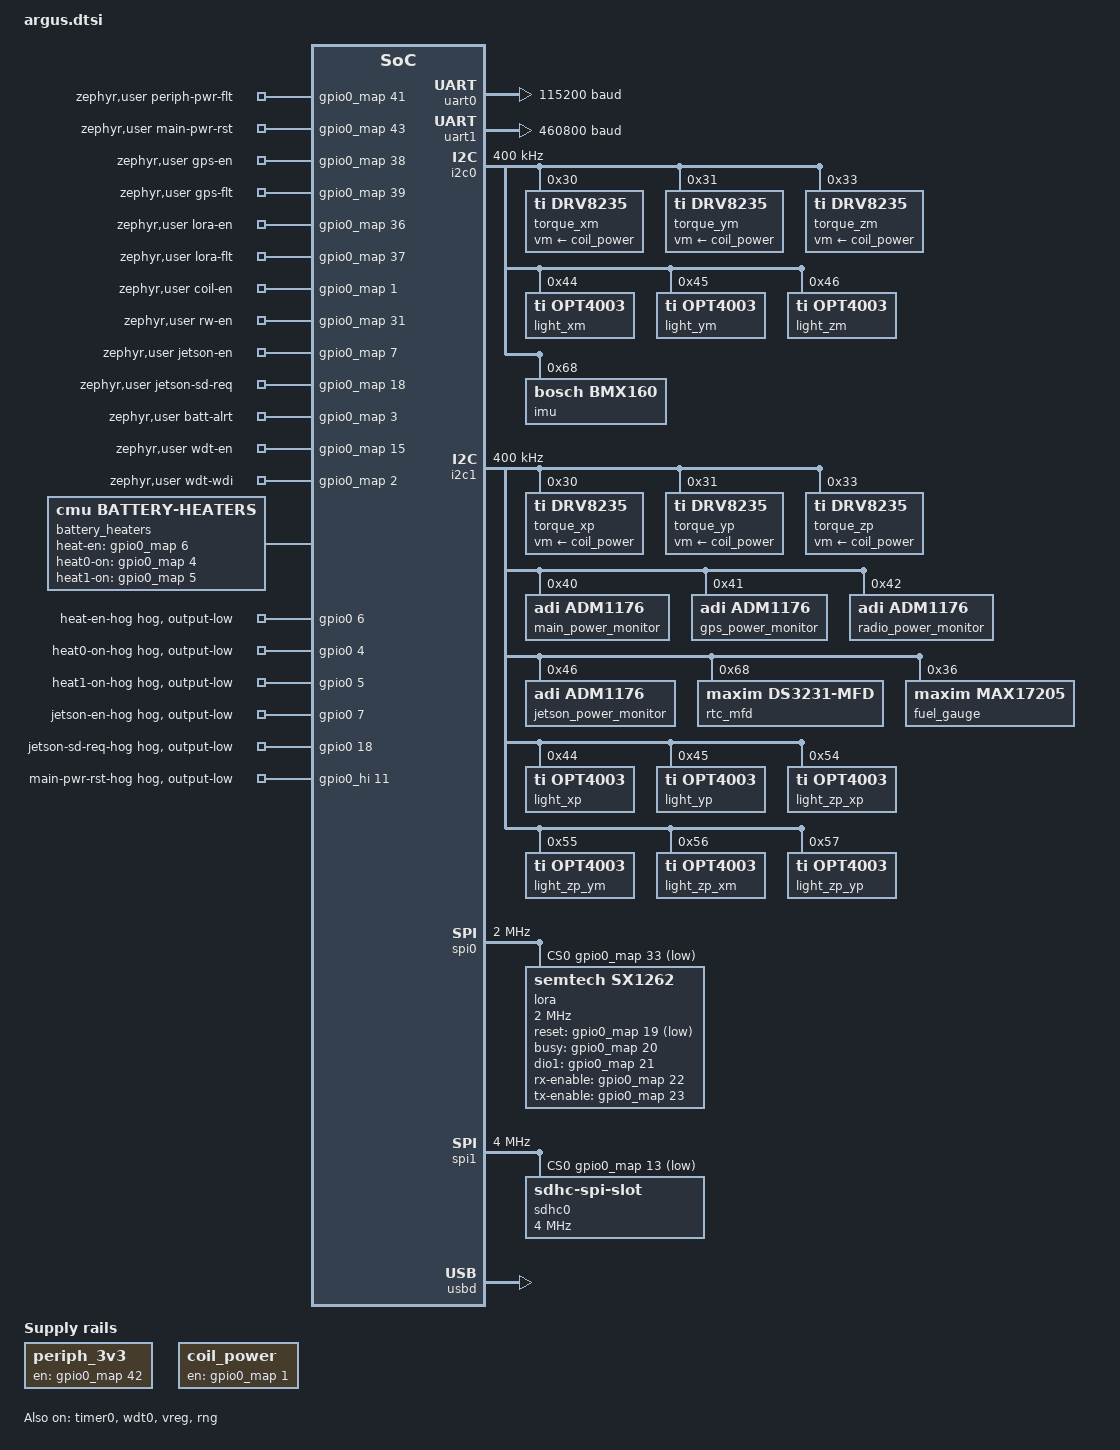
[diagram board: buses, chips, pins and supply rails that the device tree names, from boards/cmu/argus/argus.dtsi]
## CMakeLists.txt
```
cmake_minimum_required(VERSION 3.20.0)

# Default target (current default hardware revision is set in boards/cmu/argus/board.yml).
# Pick a revision explicitly with e.g. `west build -b argus@4/rp2350b/m33_0`.
set(BOARD argus/rp2350b/m33_0)

list(APPEND BOARD_ROOT ${CMAKE_CURRENT_SOURCE_DIR})
list(APPEND DTS_ROOT "${CMAKE_CURRENT_SOURCE_DIR}/boards/cmu/argus")
find_package(Zephyr REQUIRED HINTS $ENV{ZEPHYR_BASE})
project(FSW-Mainboard-C)

target_sources(app PRIVATE
        src/main.c
        src/drivers/adm1176.c
        src/drivers/bmx160.c
        src/drivers/battery_heaters.c
        src/drivers/drv8235.c
        src/drivers/max17205.c
        src/drivers/opt4003.c
        src/apps/adcs/adcs.c
        src/apps/eps/eps.c
        src/tasks/adcs.c
        src/tasks/adcs_hardware.c
        src/tasks/adcs_runner.c
        src/tasks/eps.c
        src/tasks/eps_hardware.c
)

target_include_directories(app PRIVATE
        ${CMAKE_CURRENT_LIST_DIR}/include
)

# Generate argus_version.h (git hash + dirty flag) on every build, so the
# version printed at boot is never stale.
set(ARGUS_VERSION_DIR ${CMAKE_BINARY_DIR}/include/generated/argus)
add_custom_target(argus_version_h
        COMMAND ${CMAKE_COMMAND}
                -DSRC_DIR=${CMAKE_CURRENT_SOURCE_DIR}
                -DOUT_FILE=${ARGUS_VERSION_DIR}/argus_version.h
                -P ${CMAKE_CURRENT_SOURCE_DIR}/cmake/gen_version.cmake
        BYPRODUCTS ${ARGUS_VERSION_DIR}/argus_version.h
)
add_dependencies(app argus_version_h)
target_include_directories(app PRIVATE ${ARGUS_VERSION_DIR})
```

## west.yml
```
# West manifest: pins the Zephyr version and the modules this project uses.
# Set up a workspace with:
#   west init -m https://github.com/cmu-argus-2/FSW-Mainboard-C --mr main <workspace-dir>
#   cd <workspace-dir> && west update

manifest:
  remotes:
    - name: zephyrproject-rtos
      url-base: https://github.com/zephyrproject-rtos

  projects:
    - name: zephyr
      remote: zephyrproject-rtos
      revision: 839728050444f90d06870b5fc9bbbda106d91459
      import:
        name-allowlist:
          - cmsis_6       # Cortex-M33 core support
          - hal_rpi_pico  # RP2350 drivers
          - fatfs         # SD card filesystem
          - littlefs      # on-board flash storage
          - loramac-node  # SX1262 radio backend

  self:
    path: FSW-Mainboard-C
```

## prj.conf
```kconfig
CONFIG_LED_STRIP=y
CONFIG_I2C=y
CONFIG_FUEL_GAUGE=y
CONFIG_MAIN_STACK_SIZE=4096
CONFIG_HW_STACK_PROTECTION=y
CONFIG_SENSOR=y
CONFIG_RPI_PICO_TEMP=y
CONFIG_LOG=y
# The ADCS record is formatted with snprintf %g
CONFIG_PICOLIBC_IO_FLOAT=y
```

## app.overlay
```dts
/* SPDX-License-Identifier: Apache-2.0 */

/* The ADC driver requires a default state. Die temperature uses no external pins. */
&pinctrl {
	eps_adc_default: eps-adc-default {};
};

&adc {
	pinctrl-0 = <&eps_adc_default>;
	pinctrl-names = "default";
	status = "okay";
};

/* U13 is supplied by the LoRa rail. Initialize it after EPS enables the rail. */
&radio_power_monitor {
	zephyr,deferred-init;
};
```

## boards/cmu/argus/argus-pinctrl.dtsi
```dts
/*
 * SPDX-License-Identifier: Apache-2.0
 *
 * Revision 4 pin numbers from the Python flight software's
 * firmware/Mainboard v4/pins.c (the CircuitPython board definition).
 */

#include <zephyr/dt-bindings/pinctrl/rpi-pico-rp2350b-pinctrl.h>

&pinctrl {
	/* GPS: TX0/RX0 */
	uart0_default: uart0_default {
		group1 {
			pinmux = <UART0_TX_P44>;
		};

		group2 {
			pinmux = <UART0_RX_P45>;
			input-enable;
		};
	};

	/* Jetson: TX1/RX1 */
	uart1_default: uart1_default {
		group1 {
			pinmux = <UART1_TX_P8>;
		};

		group2 {
			pinmux = <UART1_RX_P9>;
			input-enable;
		};
	};

	/* Radio. CS (GPIO33) is a plain GPIO, see cs-gpios. */
	spi0_default: spi0_default {
		group1 {
			pinmux = <SPI0_SCK_P34>, <SPI0_TX_P35>;
		};

		group2 {
			pinmux = <SPI0_RX_P32>;
			input-enable;
		};
	};

	/* SD card. CS (GPIO13) is a plain GPIO, see cs-gpios. */
	spi1_default: spi1_default {
		group1 {
			pinmux = <SPI1_SCK_P10>, <SPI1_TX_P11>;
		};

		group2 {
			pinmux = <SPI1_RX_P12>;
			input-enable;
		};
	};

	/* -X/-Y/-Z faces, IMU */
	i2c0_default: i2c0_default {
		group1 {
			pinmux = <I2C0_SDA_P24>, <I2C0_SCL_P25>;
			input-enable;
			input-schmitt-enable;
		};
	};

	/* +X/+Y/+Z faces, RTC, fuel gauge, power monitors */
	i2c1_default: i2c1_default {
		group1 {
			pinmux = <I2C1_SDA_P46>, <I2C1_SCL_P47>;
			input-enable;
			input-schmitt-enable;
		};
	};

	ws2812_pio0_default: ws2812_pio0_default {
		ws2812 {
			pinmux = <PIO0_P0>;
		};
	};
};
```

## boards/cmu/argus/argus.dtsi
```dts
/*
 * SPDX-License-Identifier: Apache-2.0
 *
 * CMU Argus Mainboard: RP2350B, W25Q32JV (4 MiB) flash.
 *
 * These base files describe revision 4. Later revisions go in
 * argus_rp2350b_m33_0_<N>.overlay (see board.yml).
 *
 * Pin numbers come from the Python flight software's
 * firmware/Mainboard v4/pins.c and bus assignments from its
 * flight/hal/argus_v4.py.
 *
 * GPIOs are referenced through &gpio0_map, which takes the raw GPIO number
 * (0-47) and routes 32-47 to the high bank, so numbers match pins.c.
 */

#include <freq.h>

#include <zephyr/dt-bindings/i2c/i2c.h>
#include <zephyr/dt-bindings/led/led.h>
#include <zephyr/dt-bindings/lora/sx126x.h>

#include "argus-pinctrl.dtsi"

/ {
	chosen {
		zephyr,sram = &sram0;
		zephyr,flash = &flash0;
		zephyr,flash-controller = &qmi;
		zephyr,code-partition = &code_partition;
	};

	aliases {
		watchdog0 = &wdt0;
		led-strip = &neopixel;
		lora0 = &lora;
		gps-uart = &uart0;
		jetson-uart = &uart1;
	};

	/*
	 * Board control lines, read with GPIO_DT_SPEC_GET(DT_PATH(zephyr_user), <prop>).
	 * Enables are active-high (the Python HAL sets them True to turn things on).
	 * *-flt-gpios and batt-alrt-gpios are described at the raw pin level;
	 * their real polarity has not been checked against the schematic.
	 */
	/* PERIPH_PWR_EN. Powers I2C0/I2C1 devices; comes up before their drivers init. */
	periph_3v3: periph-3v3 {
		compatible = "regulator-fixed";
		regulator-name = "periph_3v3";
		enable-gpios = <&gpio0_map 42 GPIO_ACTIVE_HIGH>;
		startup-delay-us = <100000>;
		regulator-boot-on;
	};

	/* EPS enables COIL_EN before initializing the six torque drivers.
	 * The regulator waits for the rail to settle before returning.
	 */
	coil_power: coil-power {
		compatible = "regulator-fixed";
		regulator-name = "coil_power";
		enable-gpios = <&gpio0_map 1 GPIO_ACTIVE_HIGH>;
		off-on-delay-us = <100000>;
	};

	zephyr,user {
		periph-pwr-flt-gpios = <&gpio0_map 41 GPIO_ACTIVE_HIGH>;

		/* Power-cycles the MCU rail. */
		main-pwr-rst-gpios = <&gpio0_map 43 GPIO_ACTIVE_HIGH>;

		gps-en-gpios = <&gpio0_map 38 GPIO_ACTIVE_HIGH>;
		gps-flt-gpios = <&gpio0_map 39 GPIO_ACTIVE_HIGH>;
		lora-en-gpios = <&gpio0_map 36 GPIO_ACTIVE_HIGH>;
		lora-flt-gpios = <&gpio0_map 37 GPIO_ACTIVE_HIGH>;
		coil-en-gpios = <&gpio0_map 1 GPIO_ACTIVE_HIGH>;
		rw-en-gpios = <&gpio0_map 31 GPIO_ACTIVE_HIGH>;

		jetson-en-gpios = <&gpio0_map 7 GPIO_ACTIVE_HIGH>;
		/* Wired to the 5V DC-DC enable, per argus_v4.py. */
		jetson-sd-req-gpios = <&gpio0_map 18 GPIO_ACTIVE_HIGH>;

		batt-alrt-gpios = <&gpio0_map 3 GPIO_ACTIVE_HIGH>;

		/*
		 * External watchdog. Driving WDT_EN high arms it; after that WDT_WDI
		 * must be toggled or the board resets. Left undriven at boot.
		 */
		wdt-en-gpios = <&gpio0_map 15 GPIO_ACTIVE_HIGH>;
		wdt-wdi-gpios = <&gpio0_map 2 GPIO_ACTIVE_HIGH>;
	};

	/* Battery-board heaters. The hogs below hold these low until the driver loads. */
	battery_heaters: battery-heaters {
		compatible = "cmu,battery-heaters";
		heat-en-gpios = <&gpio0_map 6 GPIO_ACTIVE_HIGH>;
		heat0-on-gpios = <&gpio0_map 4 GPIO_ACTIVE_HIGH>;
		heat1-on-gpios = <&gpio0_map 5 GPIO_ACTIVE_HIGH>;
	};
};

&flash0 {
	reg = <0x10000000 DT_SIZE_M(4)>;
	ranges = <0x0 0x10000000 DT_SIZE_M(4)>;
	status = "okay";

	partitions {
		ranges;
		#address-cells = <0x1>;
		#size-cells = <0x1>;

		code_partition: partition@0 {
			compatible = "zephyr,mapped-partition";
			label = "code";
			reg = <0x0 DT_SIZE_M(3)>;
			read-only;
		};

		storage_partition: partition@300000 {
			compatible = "zephyr,mapped-partition";
			label = "storage";
			reg = <0x300000 DT_SIZE_M(1)>;
		};
	};
};

/* Hogs: pins held low from GPIO init, before the app runs. Bank pin = GPIO - 32 on gpio0_hi. */
gpio0_lo: &gpio0 {
	status = "okay";

	heat-en-hog {
		gpio-hog;
		gpios = <6 GPIO_ACTIVE_HIGH>;
		output-low;
	};

	heat0-on-hog {
		gpio-hog;
		gpios = <4 GPIO_ACTIVE_HIGH>;
		output-low;
	};

	heat1-on-hog {
		gpio-hog;
		gpios = <5 GPIO_ACTIVE_HIGH>;
		output-low;
	};

	jetson-en-hog {
		gpio-hog;
		gpios = <7 GPIO_ACTIVE_HIGH>;
		output-low;
	};

	jetson-sd-req-hog {
		gpio-hog;
		gpios = <18 GPIO_ACTIVE_HIGH>;
		output-low;
	};
};

&gpio0_hi {
	status = "okay";

	/* GPIO43 */
	main-pwr-rst-hog {
		gpio-hog;
		gpios = <11 GPIO_ACTIVE_HIGH>;
		output-low;
	};
};

/* GPS */
&uart0 {
	current-speed = <115200>;
	pinctrl-0 = <&uart0_default>;
	pinctrl-names = "default";
	status = "okay";
};

/* Jetson */
&uart1 {
	current-speed = <460800>;
	pinctrl-0 = <&uart1_default>;
	pinctrl-names = "default";
	status = "okay";
};

&i2c0 {
	clock-frequency = <I2C_BITRATE_FAST>;
	pinctrl-0 = <&i2c0_default>;
	pinctrl-names = "default";
	status = "okay";

	torque_xm: drv8235@30 {
		compatible = "ti,drv8235";
		reg = <0x30>;
		vm-supply = <&coil_power>;
		max-output-microvolt = <6000000>;
		coil-resistance-milliohm = <25000>;
	};

	torque_ym: drv8235@31 {
		compatible = "ti,drv8235";
		reg = <0x31>;
		vm-supply = <&coil_power>;
		max-output-microvolt = <6000000>;
		coil-resistance-milliohm = <25000>;
	};

	torque_zm: drv8235@33 {
		compatible = "ti,drv8235";
		reg = <0x33>;
		vm-supply = <&coil_power>;
		max-output-microvolt = <6000000>;
		coil-resistance-milliohm = <25000>;
	};

	light_xm: opt4003@44 {
		compatible = "ti,opt4003";
		reg = <0x44>;
		conversion-time = <0>;
	};

	light_ym: opt4003@45 {
		compatible = "ti,opt4003";
		reg = <0x45>;
		conversion-time = <0>;
	};

	light_zm: opt4003@46 {
		compatible = "ti,opt4003";
		reg = <0x46>;
		conversion-time = <0>;
	};

	/* Address from IMU_I2C_ADDRESS in flight/hal/argus_v4.py. Only SDA/SCL are wired. */
	imu: bmx160@68 {
		compatible = "bosch,bmx160";
		reg = <0x68>;
	};
};

&i2c1 {
	clock-frequency = <I2C_BITRATE_FAST>;
	pinctrl-0 = <&i2c1_default>;
	pinctrl-names = "default";
	status = "okay";

	torque_xp: drv8235@30 {
		compatible = "ti,drv8235";
		reg = <0x30>;
		vm-supply = <&coil_power>;
		max-output-microvolt = <6000000>;
		coil-resistance-milliohm = <25000>;
	};

	torque_yp: drv8235@31 {
		compatible = "ti,drv8235";
		reg = <0x31>;
		vm-supply = <&coil_power>;
		max-output-microvolt = <6000000>;
		coil-resistance-milliohm = <25000>;
	};

	torque_zp: drv8235@33 {
		compatible = "ti,drv8235";
		reg = <0x33>;
		vm-supply = <&coil_power>;
		max-output-microvolt = <6000000>;
		coil-resistance-milliohm = <25000>;
	};

	main_power_monitor: adm1176@40 {
		compatible = "adi,adm1176";
		reg = <0x40>;
		rshunt-micro-ohms = <10000>;
		status = "okay";
	};

	gps_power_monitor: adm1176@41 {
		compatible = "adi,adm1176";
		reg = <0x41>;
		rshunt-micro-ohms = <10000>;
		status = "okay";
	};

	radio_power_monitor: adm1176@42 {
		compatible = "adi,adm1176";
		reg = <0x42>;
		rshunt-micro-ohms = <10000>;
		status = "okay";
	};

	jetson_power_monitor: adm1176@46 {
		compatible = "adi,adm1176";
		reg = <0x46>;
		rshunt-micro-ohms = <10000>;
		status = "okay";
	};

	rtc_mfd: ds3231@68 {
		compatible = "maxim,ds3231-mfd";
		reg = <0x68>;
		status = "okay";

		rtc: rtc {
			compatible = "maxim,ds3231-rtc";
			status = "okay";
		};
	};

	/* Battery board fuel gauge. Shadow RAM answers at 0x0B too (see binding). */
	fuel_gauge: max17205@36 {
      compatible = "maxim,max17205";
      reg = <0x36>;
      rsense-micro-ohms = <10000>;   /* check the schematic */
      status = "okay";
  };
      
	light_xp: opt4003@44 {
		compatible = "ti,opt4003";
		reg = <0x44>;
		conversion-time = <0>;
	};

	light_yp: opt4003@45 {
		compatible = "ti,opt4003";
		reg = <0x45>;
		conversion-time = <0>;
	};

	light_zp_xp: opt4003@54 {
		compatible = "ti,opt4003";
		reg = <0x54>;
		conversion-time = <0>;
	};

	light_zp_ym: opt4003@55 {
		compatible = "ti,opt4003";
		reg = <0x55>;
		conversion-time = <0>;
	};

	light_zp_xm: opt4003@56 {
		compatible = "ti,opt4003";
		reg = <0x56>;
		conversion-time = <0>;
	};

	light_zp_yp: opt4003@57 {
		compatible = "ti,opt4003";
		reg = <0x57>;
		conversion-time = <0>;
	};
};

&spi0 {
	clock-frequency = <DT_FREQ_M(2)>;
	pinctrl-0 = <&spi0_default>;
	pinctrl-names = "default";
	cs-gpios = <&gpio0_map 33 GPIO_ACTIVE_LOW>;
	status = "okay";

	/* Settings match the defaults used by flight/hal/drivers/sx126x.py. */
	lora: lora@0 {
		compatible = "semtech,sx1262";
		reg = <0>;
		spi-max-frequency = <DT_FREQ_M(2)>;
		reset-gpios = <&gpio0_map 19 GPIO_ACTIVE_LOW>;
		busy-gpios = <&gpio0_map 20 GPIO_ACTIVE_HIGH>;
		dio1-gpios = <&gpio0_map 21 GPIO_ACTIVE_HIGH>;
		rx-enable-gpios = <&gpio0_map 22 GPIO_ACTIVE_HIGH>;
		tx-enable-gpios = <&gpio0_map 23 GPIO_ACTIVE_HIGH>;
		dio3-tcxo-voltage = <SX126X_DIO3_TCXO_1V7>;
		tcxo-power-startup-delay-ms = <5>;
		status = "okay";
	};
};

&spi1 {
	clock-frequency = <DT_FREQ_M(4)>;
	pinctrl-0 = <&spi1_default>;
	pinctrl-names = "default";
	cs-gpios = <&gpio0_map 13 GPIO_ACTIVE_LOW>;
	status = "okay";

	sdhc0: sdhc@0 {
		compatible = "zephyr,sdhc-spi-slot";
		reg = <0>;
		spi-max-frequency = <DT_FREQ_M(4)>;
		status = "okay";

		mmc {
			compatible = "zephyr,sdmmc-disk";
			disk-name = "SD";
			status = "okay";
		};
	};
};

&pio0 {
	status = "okay";

	pio-ws2812 {
		compatible = "worldsemi,ws2812-rpi_pico-pio";
		pinctrl-0 = <&ws2812_pio0_default>;
		pinctrl-names = "default";
		bit-waveform = <3>, <3>, <4>;
		status = "okay";

		neopixel: ws2812 {
			gpios = <&gpio0_map 0 GPIO_ACTIVE_HIGH>;
			chain-length = <1>;
			color-mapping = <LED_COLOR_ID_GREEN
					 LED_COLOR_ID_RED
					 LED_COLOR_ID_BLUE>;
			reset-delay = <280>;
			frequency = <DT_FREQ_K(800)>;
			status = "okay";
		};
	};
};

&timer0 {
	status = "okay";
};

&wdt0 {
	status = "okay";
};

&vreg {
	status = "okay";
};

&rng {
	status = "okay";
};

zephyr_udc0: &usbd {
	status = "okay";
};

#include <../boards/common/usb/cdc_acm_serial.dtsi>
```

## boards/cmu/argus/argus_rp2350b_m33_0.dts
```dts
/*
 * SPDX-License-Identifier: Apache-2.0
 */

/dts-v1/;

#include <raspberrypi/rpi_pico/rp2350b.dtsi>
#include <raspberrypi/rpi_pico/m33.dtsi>
#include "argus.dtsi"
```

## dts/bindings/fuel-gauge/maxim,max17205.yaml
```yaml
# MAX17205 fuel gauge. Driven by the application (src/drivers/max17205.c),
# not by an in-tree Zephyr driver; this binding only exists so the app can get
# the gauge's bus and address with I2C_DT_SPEC_GET().
#
# reg is the main register block (0x36). The shadow RAM at 0x0B is fixed by
# the chip, so the driver derives it rather than taking it from here.

description: Maxim MAX17205 multi-cell ModelGauge m5 fuel gauge

compatible: "maxim,max17205"

properties:
  rsense-micro-ohms:
    type: int
    required: true
    description: Current-sense resistor value in micro-ohms.

include: i2c-device.yaml
```

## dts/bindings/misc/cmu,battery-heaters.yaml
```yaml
# Copyright (c) 2026 Carnegie Mellon University
# SPDX-License-Identifier: Apache-2.0

description: |
  Argus battery-board heaters, switched by GPIO.

  HEAT_EN is a shared master enable. Each heater also has its own on line.
  A heater draws power only while both HEAT_EN and its own line are high.
  The second heater is optional, so single-heater boards are supported.

  The driver configures every line as input and output so it can read the
  pad level back, which device_errors needs. All lines start low.

compatible: "cmu,battery-heaters"

properties:
  heat-en-gpios:
    type: phandle-array
    required: true
    description: Shared master enable (HEAT_EN), active high.

  heat0-on-gpios:
    type: phandle-array
    required: true
    description: Heater 0 enable (HEAT0_ON), active high.

  heat1-on-gpios:
    type: phandle-array
    description: Heater 1 enable (HEAT1_ON), active high. Omit on single-heater boards.
```

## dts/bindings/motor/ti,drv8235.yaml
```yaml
# SPDX-License-Identifier: Apache-2.0

description: |
  Test-only DRV8235 binding for the I2C register emulator. This declares the
  properties consumed by the real driver without importing the Argus board
  library. Bus addresses, rail setup, and explicit limits belong to the test
  overlays, not this schema. Keep property types aligned with the hardware
  binding; this fixture does not validate the production board definition.

compatible: "ti,drv8235"

include: i2c-device.yaml

properties:
  vm-supply:
    type: phandle
    required: true

  max-output-microvolt:
    type: int
    required: true

  coil-resistance-milliohm:
    type: int
    required: true

  imtr-full-scale-microamp:
    type: int
    required: true
```

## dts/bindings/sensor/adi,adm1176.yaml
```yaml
# Copyright (c) 2026 Carnegie Mellon University
# SPDX-License-Identifier: Apache-2.0

description: |
  Analog Devices ADM1176 hot-swap controller and I2C power monitor.

  The device measures bus voltage and the voltage across an external shunt
  resistor with a 12-bit ADC. The driver exposes voltage and current through
  Zephyr's sensor API.

compatible: "adi,adm1176"

include: [sensor-device.yaml, i2c-device.yaml]

properties:
  rshunt-micro-ohms:
    type: int
    required: true
    description: External current-sense resistor value in micro-ohms.

  voltage-range-microvolt:
    type: int
    default: 26350000
    enum: [6650000, 26350000]
    description: |
      Full-scale bus-voltage range in microvolts. The default preserves the
      26.35 V range used by the previous Argus flight driver. Set 6650000 to
      enable the ADM1176 VRANGE bit and use the higher-resolution 6.65 V range.
```

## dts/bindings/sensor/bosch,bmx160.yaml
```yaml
# Devicetree binding for the BMX160 (BMI160 accel/gyro + BMM150 magnetometer).
# Defaults match what flight/hal/drivers/bmx160.py writes at boot.

description: Bosch BMX160 9-axis IMU on I2C

compatible: "bosch,bmx160"

include: [sensor-device.yaml, i2c-device.yaml]

properties:
  gyro-range:
    type: int
    default: 2
    enum: [0, 1, 2, 3, 4]
    description: |
      GYR_RANGE code written at init. Change it at runtime with
      bmx160_set_gyro_range().
      0: 2000 deg/s, 1: 1000 deg/s, 2: 500 deg/s, 3: 250 deg/s, 4: 125 deg/s

  accel-range:
    type: int
    default: 8
    enum: [3, 5, 8, 12]
    description: |
      ACC_RANGE code written at init.
      3: 2 g, 5: 4 g, 8: 8 g, 12: 16 g
```

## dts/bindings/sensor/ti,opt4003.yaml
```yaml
# Devicetree binding for the OPT4003. Each property maps to a CONFIGURATION
# register field (pages 30 and 31 of the datasheet). Defaults should match the
# constructor defaults in flight/hal/drivers/opt4003.py.

description: TI OPT4003 ambient light sensor

compatible: "ti,opt4003"

include: [sensor-device.yaml, i2c-device.yaml]

properties:
  quick-wakeup:
    type: boolean
    description: Faster wakeup from standby in one-shot mode, at higher power.

  lux-range:
    type: int
    default: 12
    enum: [0, 1, 2, 3, 4, 5, 6, 7, 8, 12]
    description: |
      0: 561 lux, 1: 1122 lux, 2: 2.2 klux, 3: 4.4 klux, 4: 8.9 klux,
      5: 17.9 klux, 6: 35.9 klux, 7: 71.8 klux, 8: 143.6 klux, 12: auto

  conversion-time:
    type: int
    default: 8
    enum: [0, 1, 2, 3, 4, 5, 6, 7, 8, 9, 10, 11]
    description: |
      0: 600us, 1: 1ms, 2: 1.8ms, 3: 3.4ms, 4: 6.5ms, 5: 12.7ms,
      6: 25ms, 7: 50ms, 8: 100ms, 9: 200ms, 10: 400ms, 11: 800ms

  transparent-hysteresis:
    type: boolean
    description: |
      Use transparent hysteresis interrupt mode. Default is latched window mode
      (pages 14 and 15 of the datasheet).

  int-active-high:
    type: boolean
    description: INT pin is active high. Default is active low.

  fault-count:
    type: int
    default: 0
    enum: [0, 1, 2, 3]
    description: |
      Consecutive faults needed to trigger the threshold mechanism.
      0: one, 1: two, 2: four, 3: eight
```

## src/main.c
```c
#include <zephyr/kernel.h>
#include <zephyr/sys/printk.h>

#include "argus/tasks/adcs.h"
#include "argus/tasks/eps_task.h"
#include "argus_version.h"

#define ADCS_STACK_SIZE 3072
/* Python runs ADCS at priority 1, ahead of EPS (2), which has its own thread. */
#define ADCS_PRIORITY K_PRIO_PREEMPT(1)

K_THREAD_STACK_DEFINE(adcs_stack, ADCS_STACK_SIZE);
static struct k_thread adcs_thread;

static void adcs_entry(void *p1, void *p2, void *p3)
{
	ARG_UNUSED(p2);
	ARG_UNUSED(p3);
	adcs_run(p1);
}

int main(void)
{
	printk("Argus FSW mainboard rev %s (%s)\n", CONFIG_BOARD_REVISION, ARGUS_GIT_VERSION);
	printk("EPS 1 Hz; time is uptime seconds; full record every fifth run\n");
	printk("ADCS: IMU connected; state fixed at DETUMBLING; no light sensors or coils\n");
	k_thread_create(&adcs_thread, adcs_stack, K_THREAD_STACK_SIZEOF(adcs_stack), adcs_entry,
			(void *)adcs_hardware_io(), NULL, NULL, ADCS_PRIORITY, 0, K_NO_WAIT);
	k_thread_name_set(&adcs_thread, "adcs");
	eps_start(eps_hardware_io());
	return 0;
}
```
